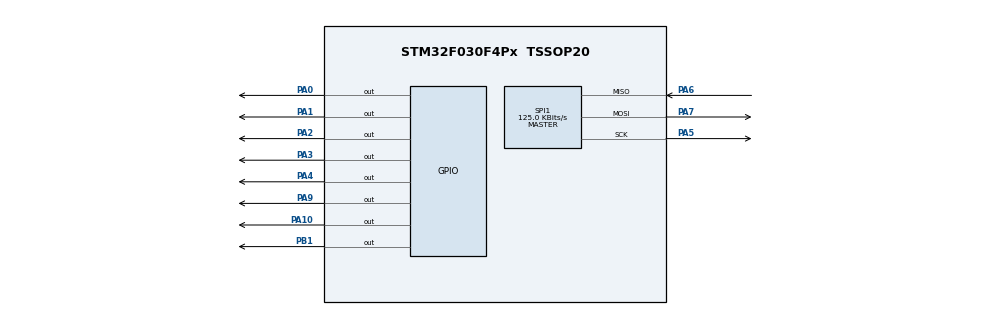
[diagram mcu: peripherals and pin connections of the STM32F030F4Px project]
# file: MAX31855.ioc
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Mcu.Family=STM32F0
Mcu.Name=STM32F030F4Px
Mcu.Package=TSSOP20
PA0.Signal=GPIO_Output
PA1.Signal=GPIO_Output
PA10.Signal=GPIO_Output
PA13.Mode=Serial_Wire
PA13.Signal=SYS_SWDIO
PA14.Mode=Serial_Wire
PA14.Signal=SYS_SWCLK
PA2.Signal=GPIO_Output
PA3.Signal=GPIO_Output
PA4.GPIO_PuPd=GPIO_PULLUP
PA4.Signal=GPIO_Output
PA5.Mode=Full_Duplex_Master
PA5.Signal=SPI1_SCK
PA6.Mode=Full_Duplex_Master
PA6.Signal=SPI1_MISO
PA7.Mode=Full_Duplex_Master
PA7.Signal=SPI1_MOSI
PA9.Signal=GPIO_Output
PB1.Signal=GPIO_Output
ProjectManager.HeapSize=0x200
ProjectManager.StackSize=0x400
ProjectManager.TargetToolchain=STM32CubeIDE
SPI1.BaudRatePrescaler=SPI_BAUDRATEPRESCALER_64
SPI1.CalculateBaudRate=125.0 KBits/s
SPI1.DataSize=SPI_DATASIZE_8BIT
SPI1.Direction=SPI_DIRECTION_2LINES
SPI1.Mode=SPI_MODE_MASTER
SPI1.VirtualType=VM_MASTER
board=custom

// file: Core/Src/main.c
/* USER CODE BEGIN Header */
/**
  ******************************************************************************
  * @file           : main.c
  * @brief          : Main program body
  ******************************************************************************
  * @attention
  *
  * <h2><center>&copy; Copyright (c) 2021 STMicroelectronics.
  * All rights reserved.</center></h2>
  *
  * This software component is licensed by ST under BSD 3-Clause license,
  * the "License"; You may not use this file except in compliance with the
  * License. You may obtain a copy of the License at:
  *                        opensource.org/licenses/BSD-3-Clause
  *
  ******************************************************************************
  */
/* USER CODE END Header */
#include "main.h"

/* USER CODE BEGIN Includes */
#include "lcd.h"
#include "MAX31855.h"
#include "stdio.h"
/* USER CODE END Includes */

SPI_HandleTypeDef hspi1;

/* USER CODE BEGIN PV */
float temp=0;	// Variable to get Temperature
char lcd[16];

/* USER CODE END PV */

void SystemClock_Config(void);
static void MX_GPIO_Init(void);
static void MX_SPI1_Init(void);

int main(void)
{

  /* MCU Configuration--------------------------------------------------------*/

  /* Reset of all peripherals, Initializes the Flash interface and the Systick. */
  HAL_Init();

  /* Configure the system clock */
  SystemClock_Config();

  /* Initialize all configured peripherals */
  MX_GPIO_Init();
  MX_SPI1_Init();
  /* USER CODE BEGIN 2 */
  lcd_Init();
 	  lcd_clrscr();

  /* USER CODE END 2 */

  /* Infinite loop */
  /* USER CODE BEGIN WHILE */
  while (1)
  {

temp=Max31855_Read_Temp(); 			// Gets Temperature from MAX31855
sprintf(lcd,"T=%3d",(int)temp);		// Conversation to Char
lcd_pos_puts(0, 0, lcd); 			// LCD Show
switch(Error){
case 0:
	lcd_pos_puts(0, 1,"NORMAL          ");
	break;
case 1:
	lcd_pos_puts(0, 1,"OPEN CONNECTION ");
	break;
case 2:
	lcd_pos_puts(0, 1,"SHORT TO GND    ");
	break;
case 4:
	lcd_pos_puts(0, 1,"SHORT TO VCC    ");
	break;
default:
	break;
}

/* USER CODE END WHILE */

  }
}

void SystemClock_Config(void)
{
  RCC_OscInitTypeDef RCC_OscInitStruct = {0};
  RCC_ClkInitTypeDef RCC_ClkInitStruct = {0};

  /** Initializes the RCC Oscillators according to the specified parameters
  * in the RCC_OscInitTypeDef structure.
  */
  RCC_OscInitStruct.OscillatorType = RCC_OSCILLATORTYPE_HSI;
  RCC_OscInitStruct.HSIState = RCC_HSI_ON;
  RCC_OscInitStruct.HSICalibrationValue = RCC_HSICALIBRATION_DEFAULT;
  RCC_OscInitStruct.PLL.PLLState = RCC_PLL_NONE;
  if (HAL_RCC_OscConfig(&RCC_OscInitStruct) != HAL_OK)
  {
    Error_Handler();
  }
  /** Initializes the CPU, AHB and APB buses clocks
  */
  RCC_ClkInitStruct.ClockType = RCC_CLOCKTYPE_HCLK|RCC_CLOCKTYPE_SYSCLK
                              |RCC_CLOCKTYPE_PCLK1;
  RCC_ClkInitStruct.SYSCLKSource = RCC_SYSCLKSOURCE_HSI;
  RCC_ClkInitStruct.AHBCLKDivider = RCC_SYSCLK_DIV1;
  RCC_ClkInitStruct.APB1CLKDivider = RCC_HCLK_DIV1;

  if (HAL_RCC_ClockConfig(&RCC_ClkInitStruct, FLASH_LATENCY_0) != HAL_OK)
  {
    Error_Handler();
  }
}

static void MX_SPI1_Init(void)
{

  /* SPI1 parameter configuration*/
  hspi1.Instance = SPI1;
  hspi1.Init.Mode = SPI_MODE_MASTER;
  hspi1.Init.Direction = SPI_DIRECTION_2LINES;
  hspi1.Init.DataSize = SPI_DATASIZE_8BIT;
  hspi1.Init.CLKPolarity = SPI_POLARITY_LOW;
  hspi1.Init.CLKPhase = SPI_PHASE_1EDGE;
  hspi1.Init.NSS = SPI_NSS_SOFT;
  hspi1.Init.BaudRatePrescaler = SPI_BAUDRATEPRESCALER_64;
  hspi1.Init.FirstBit = SPI_FIRSTBIT_MSB;
  hspi1.Init.TIMode = SPI_TIMODE_DISABLE;
  hspi1.Init.CRCCalculation = SPI_CRCCALCULATION_DISABLE;
  hspi1.Init.CRCPolynomial = 7;
  hspi1.Init.CRCLength = SPI_CRC_LENGTH_DATASIZE;
  hspi1.Init.NSSPMode = SPI_NSS_PULSE_ENABLE;
  if (HAL_SPI_Init(&hspi1) != HAL_OK)
  {
    Error_Handler();
  }

}

static void MX_GPIO_Init(void)
{
  GPIO_InitTypeDef GPIO_InitStruct = {0};

  /* GPIO Ports Clock Enable */
  __HAL_RCC_GPIOA_CLK_ENABLE();
  __HAL_RCC_GPIOB_CLK_ENABLE();

  /*Configure GPIO pin Output Level */
  HAL_GPIO_WritePin(GPIOA, GPIO_PIN_0|GPIO_PIN_1|GPIO_PIN_2|GPIO_PIN_3
                          |GPIO_PIN_4|GPIO_PIN_9|GPIO_PIN_10, GPIO_PIN_RESET);

  /*Configure GPIO pin Output Level */
  HAL_GPIO_WritePin(GPIOB, GPIO_PIN_1, GPIO_PIN_RESET);

  /*Configure GPIO pins : PA0 PA1 PA2 PA3
                           PA9 PA10 */
  GPIO_InitStruct.Pin = GPIO_PIN_0|GPIO_PIN_1|GPIO_PIN_2|GPIO_PIN_3
                          |GPIO_PIN_9|GPIO_PIN_10;
  GPIO_InitStruct.Mode = GPIO_MODE_OUTPUT_PP;
  GPIO_InitStruct.Pull = GPIO_NOPULL;
  GPIO_InitStruct.Speed = GPIO_SPEED_FREQ_LOW;
  HAL_GPIO_Init(GPIOA, &GPIO_InitStruct);

  /*Configure GPIO pin : PA4 */
  GPIO_InitStruct.Pin = GPIO_PIN_4;
  GPIO_InitStruct.Mode = GPIO_MODE_OUTPUT_PP;
  GPIO_InitStruct.Pull = GPIO_PULLUP;
  GPIO_InitStruct.Speed = GPIO_SPEED_FREQ_LOW;
  HAL_GPIO_Init(GPIOA, &GPIO_InitStruct);

  /*Configure GPIO pin : PB1 */
  GPIO_InitStruct.Pin = GPIO_PIN_1;
  GPIO_InitStruct.Mode = GPIO_MODE_OUTPUT_PP;
  GPIO_InitStruct.Pull = GPIO_NOPULL;
  GPIO_InitStruct.Speed = GPIO_SPEED_FREQ_LOW;
  HAL_GPIO_Init(GPIOB, &GPIO_InitStruct);

}

void Error_Handler(void)
{
  __disable_irq();
  while (1)
  {
  }
}

/************************ (C) COPYRIGHT STMicroelectronics *****END OF FILE****/
